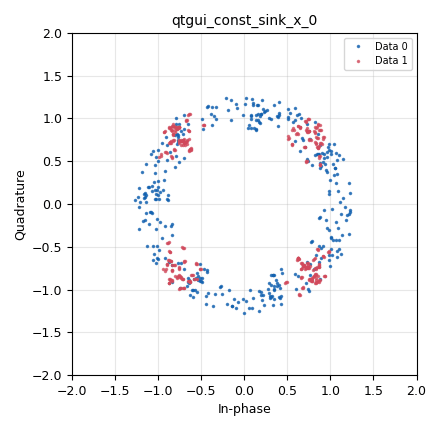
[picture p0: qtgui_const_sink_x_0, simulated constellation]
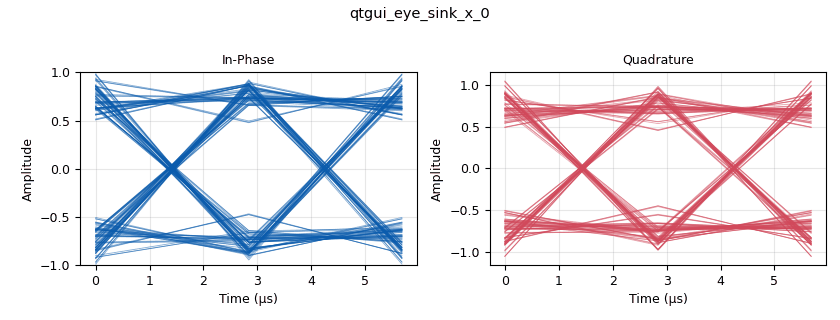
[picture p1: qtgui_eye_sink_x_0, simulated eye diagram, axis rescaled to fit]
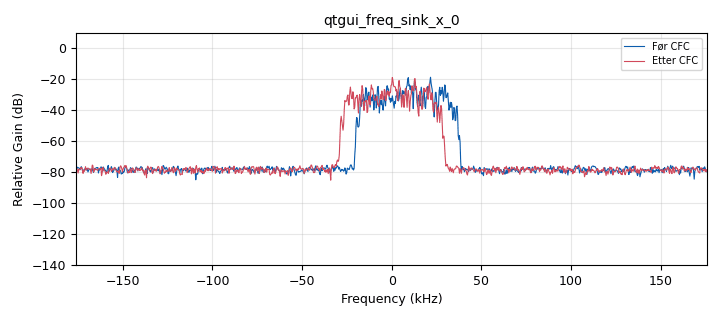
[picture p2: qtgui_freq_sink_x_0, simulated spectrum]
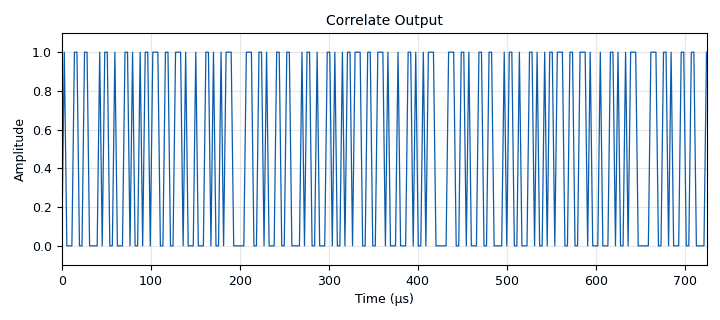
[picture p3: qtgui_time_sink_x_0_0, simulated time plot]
options:
  parameters:
    generate_options: qt_gui
    id: Pluto
    output_language: python
    title: Pluto
  states: {}

blocks:
- name: CRC_size
  id: variable
  parameters:
    value: '8'
  states: {}
- name: QPSK
  id: variable_constellation_rect
  parameters:
    const_points: '[0.707+0.707j, -0.707+0.707j, -0.707-0.707j, 0.707-0.707j]'
    imag_sect: '2'
    real_sect: '2'
    rot_sym: '4'
    sym_map: '[0,1,2,3]'
    w_imag_sect: '1'
    w_real_sect: '1'
  states: {}
- name: access_key
  id: variable
  parameters:
    comment: Training til frame-sync
    value: '''11100001'''
  states: {}
- name: decimation
  id: variable
  parameters:
    value: '2'
  states: {}
- name: excess_BW
  id: variable
  parameters:
    value: '0.35'
  states: {}
- name: freq_offset
  id: variable_qtgui_range
  parameters:
    label: 'Channel: Frequency Offset'
    start: '-0.25'
    step: '0.001'
    stop: '0.25'
    value: '0.025'
  states: {}
- name: hdr_format
  id: variable
  parameters:
    comment: header_format_default
    value: digital.header_format_default(access_key, 0)
  states: {}
- name: noise_voltage
  id: variable_qtgui_range
  parameters:
    label: 'Channel: Noise Voltage'
    start: '0'
    step: '0.01'
    stop: '0.2'
    value: '0.01'
  states: {}
- name: payload_len
  id: variable
  parameters:
    value: '32'
  states: {}
- name: samp_rate
  id: variable
  parameters:
    value: 352e3
  states: {}
- name: sps
  id: variable
  parameters:
    value: '8'
  states: {}
- name: thresh
  id: variable
  parameters:
    value: '0'
  states: {}
- name: timing_offset
  id: variable_qtgui_range
  parameters:
    label: 'Channel: Timing Offset'
    start: '0.999'
    step: '0.0001'
    stop: '1.001'
    value: '1.0005'
  states: {}
- name: blocks_message_debug_0
  id: blocks_message_debug
  parameters: {}
  states: {}
- name: blocks_message_strobe_0
  id: blocks_message_strobe
  parameters:
    comment: '"FadingDip" i HEX -> ASCII-Kode'
    msg: "pmt.cons(pmt.PMT_NIL, pmt.init_u8vector(9, (70, 97, 100, 105, 110, 103, 68, 105, 112)))\r"
    period: '100'
  states: {}
- name: blocks_repack_bits_bb_1_0_0
  id: blocks_repack_bits_bb
  parameters:
    comment: MSB
    endianness: gr.GR_MSB_FIRST
    k: '1'
    l: '8'
    len_tag_key: '"packet_len"'
  states: {}
- name: blocks_tagged_stream_mux_0
  id: blocks_tagged_stream_mux
  parameters:
    lengthtagname: packet_len
    ninputs: '2'
    type: byte
  states: {}
- name: blocks_throttle2_0
  id: blocks_throttle2
  parameters:
    samples_per_second: samp_rate
    type: byte
  states: {}
- name: blocks_uchar_to_float_0_0_0
  id: blocks_uchar_to_float
  parameters: {}
  states: {}
- name: blocks_unpack_k_bits_bb_0
  id: blocks_unpack_k_bits_bb
  parameters:
    comment: 2 bits per symbol
    k: '2'
  states: {}
- name: channels_channel_model_0
  id: channels_channel_model
  parameters:
    epsilon: timing_offset
    freq_offset: freq_offset
    noise_voltage: noise_voltage
    seed: '0'
    taps: '1.0'
  states: {}
- name: digital_constellation_decoder_cb_0
  id: digital_constellation_decoder_cb
  parameters:
    constellation: QPSK
  states: {}
- name: digital_constellation_modulator_0
  id: digital_constellation_modulator
  parameters:
    constellation: QPSK
    differential: 'True'
    excess_bw: excess_BW
    samples_per_symbol: sps
  states: {}
- name: digital_correlate_access_code_xx_ts_0
  id: digital_correlate_access_code_xx_ts
  parameters:
    access_code: access_key
    comment: Preamble/Header Detector + Frame Sync
    tagname: packet_len
    threshold: thresh
    type: byte
  states: {}
- name: digital_costas_loop_cc_0
  id: digital_costas_loop_cc
  parameters:
    comment: FFC + Fase
    order: '4'
    w: 2*pi/100
  states: {}
- name: digital_crc_append_0
  id: digital_crc_append
  parameters:
    num_bits: CRC_size
    poly: '0x4C11DB7'
  states: {}
- name: digital_crc_check_0
  id: digital_crc_check
  parameters:
    comment: Discard CRC = True
    discard_crc: 'True'
    num_bits: CRC_size
    poly: '0x4C11DB7'
  states: {}
- name: digital_diff_decoder_bb_0
  id: digital_diff_decoder_bb
  parameters:
    coding: digital.DIFF_DIFFERENTIAL
    comment: Fjerner Fasetvetydighet
    modulus: '4'
  states: {}
- name: digital_fll_band_edge_cc_0
  id: digital_fll_band_edge_cc
  parameters:
    comment: CFC
    filter_size: '60'
    rolloff: excess_BW
    samps_per_sym: sps
    type: cc
    w: 2*pi/100
  states: {}
- name: digital_protocol_formatter_async_0
  id: digital_protocol_formatter_async
  parameters:
    format: hdr_format
  states: {}
- name: digital_symbol_sync_xx_0
  id: digital_symbol_sync_xx
  parameters:
    damping: '1.0'
    loop_bw: '0.045'
    max_dev: '1.5'
    osps: '1'
    resamp_type: digital.IR_MMSE_8TAP
    sps: sps
    ted_gain: '1.0'
    ted_type: digital.TED_GARDNER
    type: cc
  states: {state: disabled}
- name: digital_symbol_sync_xx_1
  id: digital_symbol_sync_xx
  parameters:
    damping: '0.7071'
    loop_bw: 2*pi/100
    max_dev: '1.5'
    osps: '1'
    resamp_type: digital.IR_MMSE_8TAP
    sps: sps
    ted_gain: '1'
    ted_type: digital.TED_GARDNER
    type: cc
  states: {}
- name: import_0
  id: import
  parameters:
    imports: from math import pi
  states: {}
- name: pdu_pdu_to_tagged_stream_0
  id: pdu_pdu_to_tagged_stream
  parameters:
    comment: Header
    tag: packet_len
    type: byte
  states: {}
- name: pdu_pdu_to_tagged_stream_0_0
  id: pdu_pdu_to_tagged_stream
  parameters:
    comment: Payload
    tag: packet_len
    type: byte
  states: {}
- name: pdu_tagged_stream_to_pdu_0_0
  id: pdu_tagged_stream_to_pdu
  parameters:
    tag: packet_len
    type: byte
  states: {}
- name: qtgui_const_sink_x_0
  id: qtgui_const_sink_x
  parameters:
    nconnections: '2'
    size: '352'
    type: complex
    update_time: '0.1'
  states: {}
- name: qtgui_eye_sink_x_0
  id: qtgui_eye_sink_x
  parameters:
    color1: green
    color2: yellow
    label1: In-Phase
    label2: Quadrature
    marker1: '1'
    samp_per_symbol: '1'
    size: '352'
    srate: samp_rate
    type: complex
    update_time: '0.1'
  states: {}
- name: qtgui_freq_sink_x_0
  id: qtgui_freq_sink_x
  parameters:
    alpha2: '1'
    average: '0.05'
    bw: samp_rate
    color1: '"red"'
    color2: '"blue"'
    fc: '0'
    fftsize: '1024'
    label1: Før CFC
    label2: Etter CFC
    nconnections: '2'
    type: complex
    update_time: '0.1'
  states: {}
- name: qtgui_time_sink_x_0_0
  id: qtgui_time_sink_x
  parameters:
    comment: 1,2,1,2
    gui_hint: 1,2,1,2
    label1: ''
    name: Correlate Output
    size: '256'
    srate: samp_rate
    tr_delay: '0.0'
    tr_level: '0.1'
    tr_mode: qtgui.TRIG_MODE_TAG
    tr_tag: '"packet_len"'
    type: float
    ymax: '1.1'
    ymin: '-0.1'
  states: {}
- name: virtual_sink_0
  id: virtual_sink
  parameters:
    comment: Tx
    stream_id: Pluto
  states: {}
- name: virtual_sink_0_2
  id: virtual_sink
  parameters:
    stream_id: Pakke
  states: {}
- name: virtual_source_0
  id: virtual_source
  parameters:
    comment: Rx
    stream_id: Pluto
  states: {}
- name: virtual_source_1
  id: virtual_source
  parameters:
    stream_id: Pakke
  states: {}

connections:
- [blocks_message_strobe_0, strobe, digital_crc_append_0, in]
- [blocks_repack_bits_bb_1_0_0, '0', pdu_tagged_stream_to_pdu_0_0, '0']
- [blocks_tagged_stream_mux_0, '0', virtual_sink_0_2, '0']
- [blocks_throttle2_0, '0', digital_constellation_modulator_0, '0']
- [blocks_uchar_to_float_0_0_0, '0', qtgui_time_sink_x_0_0, '0']
- [blocks_unpack_k_bits_bb_0, '0', digital_correlate_access_code_xx_ts_0, '0']
- [channels_channel_model_0, '0', virtual_sink_0, '0']
- [digital_constellation_decoder_cb_0, '0', digital_diff_decoder_bb_0, '0']
- [digital_constellation_modulator_0, '0', channels_channel_model_0, '0']
- [digital_correlate_access_code_xx_ts_0, '0', blocks_repack_bits_bb_1_0_0, '0']
- [digital_correlate_access_code_xx_ts_0, '0', blocks_uchar_to_float_0_0_0, '0']
- [digital_costas_loop_cc_0, '0', digital_constellation_decoder_cb_0, '0']
- [digital_costas_loop_cc_0, '0', qtgui_const_sink_x_0, '1']
- [digital_costas_loop_cc_0, '0', qtgui_eye_sink_x_0, '0']
- [digital_crc_append_0, out, digital_protocol_formatter_async_0, in]
- [digital_crc_check_0, ok, blocks_message_debug_0, log]
- [digital_diff_decoder_bb_0, '0', blocks_unpack_k_bits_bb_0, '0']
- [digital_fll_band_edge_cc_0, '0', digital_symbol_sync_xx_1, '0']
- [digital_fll_band_edge_cc_0, '0', qtgui_freq_sink_x_0, '1']
- [digital_protocol_formatter_async_0, header, pdu_pdu_to_tagged_stream_0, pdus]
- [digital_protocol_formatter_async_0, payload, pdu_pdu_to_tagged_stream_0_0, pdus]
- [digital_symbol_sync_xx_1, '0', digital_costas_loop_cc_0, '0']
- [digital_symbol_sync_xx_1, '0', qtgui_const_sink_x_0, '0']
- [pdu_pdu_to_tagged_stream_0, '0', blocks_tagged_stream_mux_0, '0']
- [pdu_pdu_to_tagged_stream_0_0, '0', blocks_tagged_stream_mux_0, '1']
- [pdu_tagged_stream_to_pdu_0_0, pdus, digital_crc_check_0, in]
- [virtual_source_0, '0', digital_fll_band_edge_cc_0, '0']
- [virtual_source_0, '0', qtgui_freq_sink_x_0, '0']
- [virtual_source_1, '0', blocks_throttle2_0, '0']

metadata:
  file_format: 1
  grc_version: 3.10.9.2
